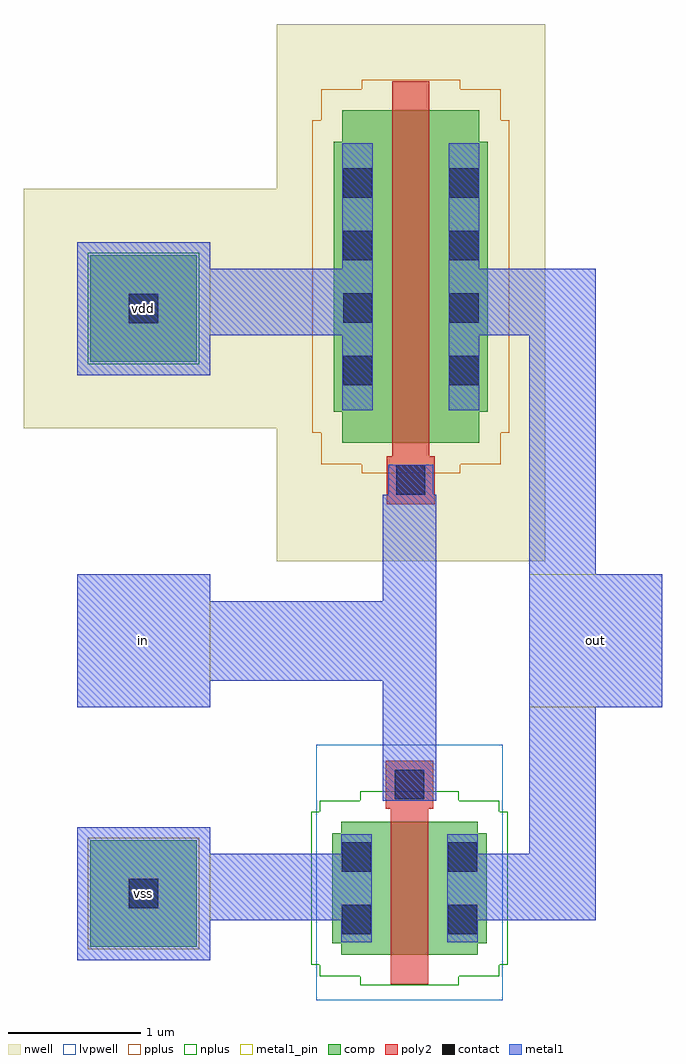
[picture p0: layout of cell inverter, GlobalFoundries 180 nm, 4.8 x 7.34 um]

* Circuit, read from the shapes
.subckt inverter in out vdd vss
XM1 out in vss vss nfet_03v3 w=1u l=0.28u
XM2 out in vdd vdd pfet_03v3 w=2.5u l=0.28u
.ends

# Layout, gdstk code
import gdstk
lib = gdstk.Library(unit=1e-6, precision=1e-09)
def R(c, l, rs):  # rectangles x0, y0, x1, y1
    for r in rs: c.add(gdstk.rectangle(r[:2], r[2:], *l))
def A(c, l, x, y, w, h, nx, ny, dx, dy):  # array of equal rectangles
    R(c, l, [(x+i*dx, y+j*dy, x+i*dx+w, y+j*dy+h) for i in range(nx) for j in range(ny)])
nwell = (21, 0)
comp = (22, 0)
poly2 = (30, 0)
pplus = (31, 0)
nplus = (32, 0)
contact = (33, 0)
metal1 = (34, 0)
metal1_pin = (34, 10)
lvpwell = (204, 0)

pfet_03v3_h75ycy = lib.new_cell('pfet_03v3_H75YCY')
R(pfet_03v3_h75ycy, nwell, [(-1.01,-2.02,1.01,2.02)])
R(pfet_03v3_h75ycy, comp, [(-0.515,-1.13,0.515,-0.895), (-0.58,-0.895,0.58,1.135), (-0.515,1.135,0.515,1.37)])
R(pfet_03v3_h75ycy, poly2, [(-0.18,-1.59,0.18,-1.23), (-0.14,-1.23,0.14,1.59)])
R(pfet_03v3_h75ycy, pplus, [(-0.37,-1.36,0.37,-1.29), (-0.675,-1.29,0.675,-1.055), (-0.74,-1.055,0.74,1.295), (-0.675,1.295,0.675,1.53), (-0.37,1.53,0.37,1.6)])
A(pfet_03v3_h75ycy, contact, -0.51, -0.695, 0.22, 0.22, 1, 4, 0, 0.47)
A(pfet_03v3_h75ycy, contact, 0.29, -0.695, 0.22, 0.22, 1, 4, 0, 0.47)
R(pfet_03v3_h75ycy, contact, [(-0.11,-1.52,0.11,-1.3)])
R(pfet_03v3_h75ycy, metal1, [(-0.17,-1.525,0.17,-1.295), (-0.515,-0.885,-0.285,1.125), (0.285,-0.885,0.515,1.125)])

nfet_03v3_zpkzmm = lib.new_cell('nfet_03v3_ZPKZMM')
R(nfet_03v3_zpkzmm, comp, [(-0.515,-0.62,0.515,-0.535), (-0.58,-0.535,0.58,0.295), (-0.515,0.295,0.515,0.38)])
R(nfet_03v3_zpkzmm, poly2, [(-0.14,-0.84,0.14,0.48), (-0.18,0.48,0.18,0.84)])
R(nfet_03v3_zpkzmm, nplus, [(-0.37,-0.85,0.37,-0.78), (-0.675,-0.78,0.675,-0.695), (-0.74,-0.695,0.74,0.455), (-0.675,0.455,0.675,0.54), (-0.37,0.54,0.37,0.61)])
R(nfet_03v3_zpkzmm, contact, [(-0.51,-0.465,-0.29,-0.245), (0.29,-0.465,0.51,-0.245), (-0.51,0.005,-0.29,0.225), (0.29,0.005,0.51,0.225), (-0.11,0.55,0.11,0.77)])
R(nfet_03v3_zpkzmm, metal1, [(-0.515,-0.525,-0.285,0.285), (0.285,-0.525,0.515,0.285), (-0.17,0.545,0.17,0.775)])
R(nfet_03v3_zpkzmm, lvpwell, [(-0.7,-0.96,0.7,0.96)])

inverter = lib.new_cell('inverter')
R(inverter, nwell, [(0.5,-4.7,2.8,-2.9)])
R(inverter, comp, [(1,-8.6,1.8,-7.8), (1,-4.2,1.8,-3.4)])
R(inverter, pplus, [(0.98,-8.62,1.82,-7.78)])
R(inverter, nplus, [(0.98,-4.22,1.82,-3.38)])
R(inverter, contact, [(1.29,-8.31,1.51,-8.09), (1.29,-3.91,1.51,-3.69)])
R(inverter, metal1, [(0.9,-8.7,1.9,-8.4), (0.9,-8.4,3.1,-7.9), (3.7,-8.4,4.8,-7.9), (0.9,-7.9,1.9,-7.7), (4.3,-7.9,4.8,-6.8), (3.2,-7.5,3.6,-6.6), (0.9,-6.8,1.9,-6.6), (4.3,-6.8,5.3,-5.8), (0.9,-6.6,3.6,-6), (0.9,-6,1.9,-5.8), (3.2,-6,3.6,-5.2), (4.3,-5.8,4.8,-4), (0.9,-4.3,1.9,-4), (0.9,-4,3.1,-3.5), (3.7,-4,4.8,-3.5), (0.9,-3.5,1.9,-3.3)])
R(inverter, metal1_pin, [(0.9,-8.7,1.9,-7.7), (0.9,-6.8,1.9,-5.8), (4.3,-6.8,5.3,-5.8), (0.9,-4.3,1.9,-3.3)])
inverter.add(gdstk.Reference(pfet_03v3_h75ycy, (3.41,-3.68)))
inverter.add(gdstk.Reference(nfet_03v3_zpkzmm, (3.4,-8.04)))
inverter.add(gdstk.Label('in', (1.4,-6.3), layer=34, texttype=10))
inverter.add(gdstk.Label('vdd', (1.4,-3.8), layer=34, texttype=10))
inverter.add(gdstk.Label('vss', (1.4,-8.2), layer=34, texttype=10))
inverter.add(gdstk.Label('out', (4.8,-6.3), layer=34, texttype=10))

lib.write_gds('inverter.gds')
